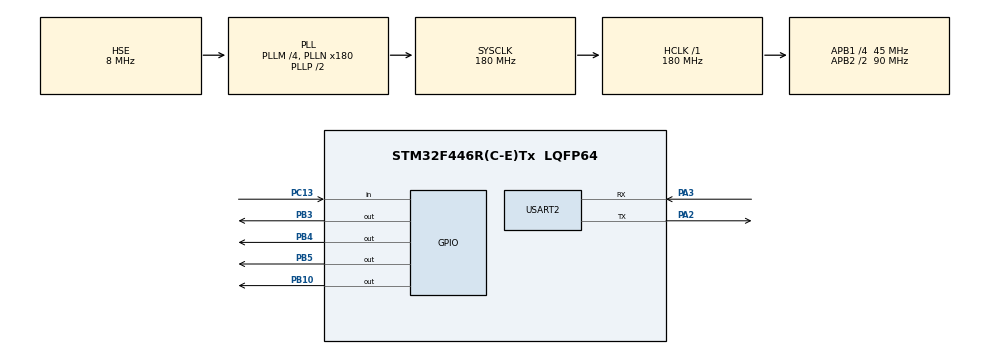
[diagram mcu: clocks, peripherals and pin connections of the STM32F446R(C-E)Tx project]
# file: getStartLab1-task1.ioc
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FREERTOS.BinarySemaphores01=binarySemAutoGreen,Dynamic,NULL;binarySemAutoYellow,Dynamic,NULL;binarySemAutoRed,Dynamic,NULL;binarySemPedGreen,Dynamic,NULL;binarySemPedRed,Dynamic,NULL
FREERTOS.Tasks01=autoGreen,24,128,StartAutoGreen,Default,NULL,Dynamic,NULL,NULL;autoYellow,24,128,StartAutoYellow,Default,NULL,Dynamic,NULL,NULL;autoRed,24,128,StartAutoRed,Default,NULL,Dynamic,NULL,NULL
FREERTOS.configUSE_NEWLIB_REENTRANT=1
Mcu.Family=STM32F4
Mcu.Name=STM32F446R(C-E)Tx
Mcu.Package=LQFP64
NVIC.PriorityGroup=NVIC_PRIORITYGROUP_4
NVIC.TIM6_DAC_IRQn=true\:15\:0\:false\:false\:true\:false\:false\:true\:true
NVIC.TimeBase=TIM6_DAC_IRQn
NVIC.TimeBaseIP=TIM6
PA13.Mode=Serial_Wire
PA13.Signal=SYS_JTMS-SWDIO
PA14.Mode=Serial_Wire
PA14.Signal=SYS_JTCK-SWCLK
PA2.Mode=Asynchronous
PA2.Signal=USART2_TX
PA3.Mode=Asynchronous
PA3.Signal=USART2_RX
PB10.Signal=GPIO_Output
PB3.Signal=GPIO_Output
PB4.Signal=GPIO_Output
PB5.Signal=GPIO_Output
PC13.Signal=GPIO_Input
PH0-OSC_IN.Mode=HSE-External-Oscillator
PH0-OSC_IN.Signal=RCC_OSC_IN
PH1-OSC_OUT.Mode=HSE-External-Oscillator
PH1-OSC_OUT.Signal=RCC_OSC_OUT
ProjectManager.HeapSize=0x200
ProjectManager.StackSize=0x400
ProjectManager.TargetToolchain=STM32CubeIDE
RCC.48MHZClocksFreq_Value=84000000
RCC.AHBFreq_Value=180000000
RCC.APB1CLKDivider=RCC_HCLK_DIV4
RCC.APB1Freq_Value=45000000
RCC.APB1TimFreq_Value=90000000
RCC.APB2CLKDivider=RCC_HCLK_DIV2
RCC.APB2Freq_Value=90000000
RCC.APB2TimFreq_Value=180000000
RCC.CortexFreq_Value=180000000
RCC.FLatency-AdvancedSettings=FLASH_LATENCY_5
RCC.HCLKFreq_Value=180000000
RCC.HSE_VALUE=8000000
RCC.HSI_VALUE=16000000
RCC.PLLM=4
RCC.PLLN=180
RCC.PLLSourceVirtual=RCC_PLLSOURCE_HSE
RCC.SYSCLKFreq_VALUE=180000000
RCC.SYSCLKSource=RCC_SYSCLKSOURCE_PLLCLK
RCC.USBFreq_Value=180000000
RCC.VCOOutputFreq_Value=360000000
USART2.VirtualMode=VM_ASYNC
VP_FREERTOS_VS_CMSIS_V2.Mode=CMSIS_V2
VP_SYS_VS_tim6.Mode=TIM6
board=NUCLEO-F446RE

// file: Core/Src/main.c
/* USER CODE BEGIN Header */
/**
  ******************************************************************************
  * @file           : main.c
  * @brief          : Main program body
  ******************************************************************************
  * @attention
  *
  * Copyright (c) 2024 STMicroelectronics.
  * All rights reserved.
  *
  * This software is licensed under terms that can be found in the LICENSE file
  * in the root directory of this software component.
  * If no LICENSE file comes with this software, it is provided AS-IS.
  *
  ******************************************************************************
  */
/* USER CODE END Header */
#include "main.h"
#include "cmsis_os.h"

UART_HandleTypeDef huart2;

/* Definitions for autoGreen */
osThreadId_t autoGreenHandle;
const osThreadAttr_t autoGreen_attributes = {
  .name = "autoGreen",
  .stack_size = 128 * 4,
  .priority = (osPriority_t) osPriorityNormal,
};
/* Definitions for autoYellow */
osThreadId_t autoYellowHandle;
const osThreadAttr_t autoYellow_attributes = {
  .name = "autoYellow",
  .stack_size = 128 * 4,
  .priority = (osPriority_t) osPriorityNormal,
};
/* Definitions for autoRed */
osThreadId_t autoRedHandle;
const osThreadAttr_t autoRed_attributes = {
  .name = "autoRed",
  .stack_size = 128 * 4,
  .priority = (osPriority_t) osPriorityNormal,
};
/* Definitions for binarySemAutoGreen */
osSemaphoreId_t binarySemAutoGreenHandle;
const osSemaphoreAttr_t binarySemAutoGreen_attributes = {
  .name = "binarySemAutoGreen"
};
/* Definitions for binarySemAutoYellow */
osSemaphoreId_t binarySemAutoYellowHandle;
const osSemaphoreAttr_t binarySemAutoYellow_attributes = {
  .name = "binarySemAutoYellow"
};
/* Definitions for binarySemAutoRed */
osSemaphoreId_t binarySemAutoRedHandle;
const osSemaphoreAttr_t binarySemAutoRed_attributes = {
  .name = "binarySemAutoRed"
};
/* Definitions for binarySemPedGreen */
osSemaphoreId_t binarySemPedGreenHandle;
const osSemaphoreAttr_t binarySemPedGreen_attributes = {
  .name = "binarySemPedGreen"
};
/* Definitions for binarySemPedRed */
osSemaphoreId_t binarySemPedRedHandle;
const osSemaphoreAttr_t binarySemPedRed_attributes = {
  .name = "binarySemPedRed"
};

void SystemClock_Config(void);
static void MX_GPIO_Init(void);
static void MX_USART2_UART_Init(void);
void StartAutoGreen(void *argument);
void StartAutoYellow(void *argument);
void StartAutoRed(void *argument);

int main(void)
{

  /* MCU Configuration--------------------------------------------------------*/

  /* Reset of all peripherals, Initializes the Flash interface and the Systick. */
  HAL_Init();

  /* Configure the system clock */
  SystemClock_Config();

  /* Initialize all configured peripherals */
  MX_GPIO_Init();
  MX_USART2_UART_Init();

  /* Init scheduler */
  osKernelInitialize();

  /* Create the semaphores(s) */
  /* creation of binarySemAutoGreen */
  binarySemAutoGreenHandle = osSemaphoreNew(1, 0, &binarySemAutoGreen_attributes);

  /* creation of binarySemAutoYellow */
  binarySemAutoYellowHandle = osSemaphoreNew(1, 0, &binarySemAutoYellow_attributes);

  /* creation of binarySemAutoRed */
  binarySemAutoRedHandle = osSemaphoreNew(1, 0, &binarySemAutoRed_attributes);

  /* creation of binarySemPedGreen */
  binarySemPedGreenHandle = osSemaphoreNew(1, 0, &binarySemPedGreen_attributes);

  /* creation of binarySemPedRed */
  binarySemPedRedHandle = osSemaphoreNew(1, 0, &binarySemPedRed_attributes);

  /* Create the thread(s) */
  /* creation of autoGreen */
  autoGreenHandle = osThreadNew(StartAutoGreen, NULL, &autoGreen_attributes);

  /* creation of autoYellow */
  autoYellowHandle = osThreadNew(StartAutoYellow, NULL, &autoYellow_attributes);

  /* creation of autoRed */
  autoRedHandle = osThreadNew(StartAutoRed, NULL, &autoRed_attributes);

  /* Start scheduler */
  osKernelStart();

  /* We should never get here as control is now taken by the scheduler */
  /* Infinite loop */
  while (1)
  {

  }
}

void SystemClock_Config(void)
{
  RCC_OscInitTypeDef RCC_OscInitStruct = {0};
  RCC_ClkInitTypeDef RCC_ClkInitStruct = {0};

  /** Configure the main internal regulator output voltage
  */
  __HAL_RCC_PWR_CLK_ENABLE();
  __HAL_PWR_VOLTAGESCALING_CONFIG(PWR_REGULATOR_VOLTAGE_SCALE1);

  /** Initializes the RCC Oscillators according to the specified parameters
  * in the RCC_OscInitTypeDef structure.
  */
  RCC_OscInitStruct.OscillatorType = RCC_OSCILLATORTYPE_HSE;
  RCC_OscInitStruct.HSEState = RCC_HSE_ON;
  RCC_OscInitStruct.PLL.PLLState = RCC_PLL_ON;
  RCC_OscInitStruct.PLL.PLLSource = RCC_PLLSOURCE_HSE;
  RCC_OscInitStruct.PLL.PLLM = 4;
  RCC_OscInitStruct.PLL.PLLN = 180;
  RCC_OscInitStruct.PLL.PLLP = RCC_PLLP_DIV2;
  RCC_OscInitStruct.PLL.PLLQ = 2;
  RCC_OscInitStruct.PLL.PLLR = 2;
  if (HAL_RCC_OscConfig(&RCC_OscInitStruct) != HAL_OK)
  {
    Error_Handler();
  }

  /** Activate the Over-Drive mode
  */
  if (HAL_PWREx_EnableOverDrive() != HAL_OK)
  {
    Error_Handler();
  }

  /** Initializes the CPU, AHB and APB buses clocks
  */
  RCC_ClkInitStruct.ClockType = RCC_CLOCKTYPE_HCLK|RCC_CLOCKTYPE_SYSCLK
                              |RCC_CLOCKTYPE_PCLK1|RCC_CLOCKTYPE_PCLK2;
  RCC_ClkInitStruct.SYSCLKSource = RCC_SYSCLKSOURCE_PLLCLK;
  RCC_ClkInitStruct.AHBCLKDivider = RCC_SYSCLK_DIV1;
  RCC_ClkInitStruct.APB1CLKDivider = RCC_HCLK_DIV4;
  RCC_ClkInitStruct.APB2CLKDivider = RCC_HCLK_DIV2;

  if (HAL_RCC_ClockConfig(&RCC_ClkInitStruct, FLASH_LATENCY_5) != HAL_OK)
  {
    Error_Handler();
  }
}

static void MX_USART2_UART_Init(void)
{

  huart2.Instance = USART2;
  huart2.Init.BaudRate = 115200;
  huart2.Init.WordLength = UART_WORDLENGTH_8B;
  huart2.Init.StopBits = UART_STOPBITS_1;
  huart2.Init.Parity = UART_PARITY_NONE;
  huart2.Init.Mode = UART_MODE_TX_RX;
  huart2.Init.HwFlowCtl = UART_HWCONTROL_NONE;
  huart2.Init.OverSampling = UART_OVERSAMPLING_16;
  if (HAL_UART_Init(&huart2) != HAL_OK)
  {
    Error_Handler();
  }

}

static void MX_GPIO_Init(void)
{
  GPIO_InitTypeDef GPIO_InitStruct = {0};

  /* GPIO Ports Clock Enable */
  __HAL_RCC_GPIOC_CLK_ENABLE();
  __HAL_RCC_GPIOH_CLK_ENABLE();
  __HAL_RCC_GPIOA_CLK_ENABLE();
  __HAL_RCC_GPIOB_CLK_ENABLE();

  /*Configure GPIO pin Output Level */
  HAL_GPIO_WritePin(GPIOB, GPIO_PIN_10|GPIO_PIN_3|GPIO_PIN_4|GPIO_PIN_5, GPIO_PIN_RESET);

  /*Configure GPIO pin : PC13 */
  GPIO_InitStruct.Pin = GPIO_PIN_13;
  GPIO_InitStruct.Mode = GPIO_MODE_INPUT;
  GPIO_InitStruct.Pull = GPIO_NOPULL;
  HAL_GPIO_Init(GPIOC, &GPIO_InitStruct);

  /*Configure GPIO pins : PB10 PB3 PB4 PB5 */
  GPIO_InitStruct.Pin = GPIO_PIN_10|GPIO_PIN_3|GPIO_PIN_4|GPIO_PIN_5;
  GPIO_InitStruct.Mode = GPIO_MODE_OUTPUT_PP;
  GPIO_InitStruct.Pull = GPIO_NOPULL;
  GPIO_InitStruct.Speed = GPIO_SPEED_FREQ_LOW;
  HAL_GPIO_Init(GPIOB, &GPIO_InitStruct);

}

void StartAutoGreen(void *argument)
{
  /* USER CODE BEGIN 5 */
  /* Infinite loop */
  for(;;)
  {

	  osDelay(12000);

	  HAL_GPIO_WritePin(GPIOB,GPIO_PIN_3, GPIO_PIN_SET);

	  osDelay(10000);

	  HAL_GPIO_WritePin(GPIOB,GPIO_PIN_3, GPIO_PIN_RESET);//Auto Green LED

	  osDelay(3000);
  }
  /* USER CODE END 5 */
}

void StartAutoYellow(void *argument)
{
  /* USER CODE BEGIN StartAutoYellow */
  /* Infinite loop */
  for(;;)
  {
	  osDelay(10000);
	  HAL_GPIO_WritePin(GPIOB,GPIO_PIN_5, GPIO_PIN_SET);
	  osDelay(2000);
	  HAL_GPIO_WritePin(GPIOB,GPIO_PIN_5, GPIO_PIN_RESET);
	  osDelay(10000);
	  HAL_GPIO_WritePin(GPIOB,GPIO_PIN_5, GPIO_PIN_SET);
	  osDelay(3000);
	  HAL_GPIO_WritePin(GPIOB,GPIO_PIN_5, GPIO_PIN_RESET);

  }
  /* USER CODE END StartAutoYellow */
}

void StartAutoRed(void *argument)
{
  /* USER CODE BEGIN StartAutoRed */
  /* Infinite loop */
  for(;;)
  {

	  HAL_GPIO_WritePin(GPIOB,GPIO_PIN_4, GPIO_PIN_SET);
	  osDelay(12000);
	  HAL_GPIO_WritePin(GPIOB,GPIO_PIN_4, GPIO_PIN_RESET);
	  osDelay(13000);

  }
  /* USER CODE END StartAutoRed */
}

void HAL_TIM_PeriodElapsedCallback(TIM_HandleTypeDef *htim)
{
  if (htim->Instance == TIM6) {
    HAL_IncTick();
  }
}

void Error_Handler(void)
{
  __disable_irq();
  while (1)
  {
  }
}
